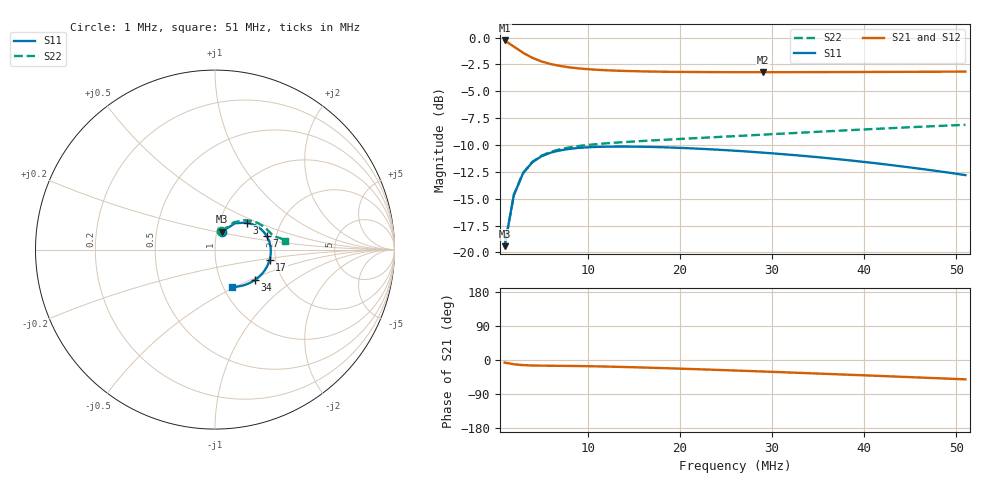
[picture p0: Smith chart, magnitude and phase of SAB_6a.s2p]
# MHz S RI R 50
! S-Parameters data
! Freq  reS11  imS11  reS21  imS21  reS12  imS12  reS22  imS22
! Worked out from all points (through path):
!   51 points, 1 MHz to 51 MHz, reference 50 ohm
!   highest |S21| = -0.27 dB at 1 MHz (marker M1); lowest = -3.2 dB at 29 MHz (marker M2)
!   group delay of S21, straight-line fit = 2.25 ns
!   lowest |S11| = -19.4 dB at 1 MHz (marker M3), VSWR 1.24, Z = 52.9 + j10.7 ohm
!   |S11| at or under -10 dB: start of sweep to end of sweep
!   |S22| runs from -19.4 to -8.1 dB; largest |S21 - S12| = 0.00037
!   S11 on the Smith chart (normalised r, x): 1 MHz: 1.06, +0.21; 3 MHz: 1.36, +0.43; 7 MHz: 1.78, +0.29; 17 MHz: 1.86, -0.23; 34 MHz: 1.46, -0.53; 51 MHz: 1.10, -0.48
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1  0.0382 0.1  0.963 -0.1138  0.9631 -0.114  0.0356 0.1009
2  0.1124 0.1469  0.8908 -0.1771  0.8909 -0.1771  0.105 0.1525
3  0.1785 0.1508  0.8262 -0.1986  0.8261 -0.1987  0.167 0.1642
4  0.2251 0.1355  0.78 -0.2017  0.7802 -0.2017  0.2112 0.1581
5  0.2558 0.1146  0.7485 -0.1992  0.7487 -0.1995  0.2409 0.1467
6  0.2759 0.0934  0.727 -0.1968  0.7269 -0.1968  0.2611 0.135
7  0.2893 0.0736  0.7117 -0.1953  0.7117 -0.1955  0.2754 0.1245
8  0.2982 0.0555  0.7002 -0.1957  0.7002 -0.1957  0.2857 0.1157
10  0.3076 0.0242  0.6842 -0.2004  0.6842 -0.2006  0.2995 0.102
13  0.3107 -0.0142  0.668 -0.2155  0.6678 -0.2156  0.3119 0.089
15  0.3088 -0.0359  0.6592 -0.2288  0.6592 -0.2288  0.3176 0.0835
17  0.3048 -0.0552  0.6507 -0.2438  0.6508 -0.2438  0.3225 0.0794
18  0.3022 -0.0642  0.6465 -0.2517  0.6466 -0.2517  0.3247 0.0779
22  0.2883 -0.0968  0.6297 -0.2855  0.6297 -0.2856  0.3329 0.0733
26  0.2701 -0.1246  0.6111 -0.3214  0.6111 -0.3214  0.3407 0.0706
29  0.2541 -0.1427  0.5955 -0.3488  0.5958 -0.3488  0.3466 0.0689
34  0.2239 -0.1681  0.5668 -0.3947  0.567 -0.3947  0.3565 0.0658
35  0.2174 -0.1726  0.5606 -0.4038  0.5606 -0.4038  0.3586 0.0651
39  0.1897 -0.1875  0.5337 -0.4397  0.534 -0.4398  0.3667 0.0623
43  0.16 -0.1985  0.5042 -0.4747  0.5043 -0.4748  0.3746 0.0583
47  0.1286 -0.2054  0.4715 -0.5085  0.4719 -0.5084  0.3824 0.0536
51  0.0961 -0.208  0.4364 -0.5404  0.4366 -0.5403  0.3898 0.0478
